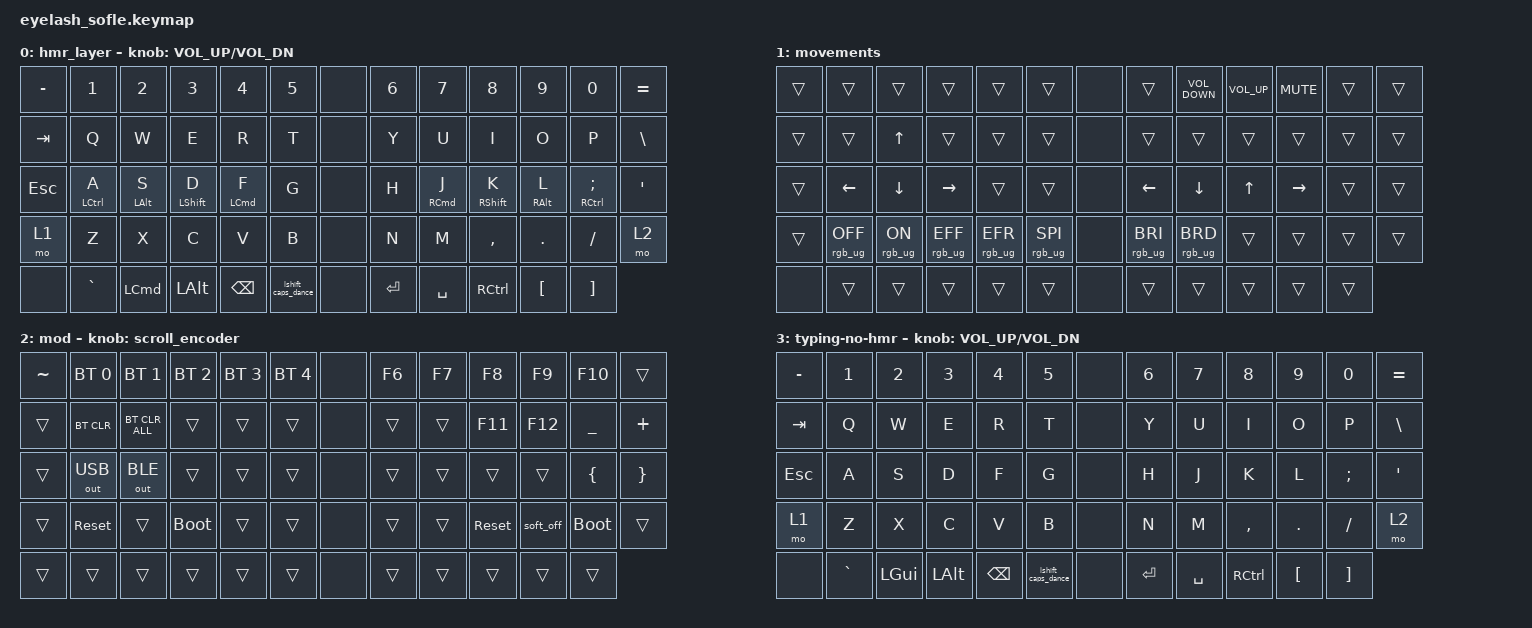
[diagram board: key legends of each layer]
#define ZMK_POINTING_DEFAULT_MOVE_VAL 1200  // 600
#define ZMK_POINTING_DEFAULT_SCRL_VAL 25   // 10

#include <input/processors.dtsi>
#include <zephyr/dt-bindings/input/input-event-codes.h>
#include <behaviors.dtsi>
#include <dt-bindings/zmk/bt.h>
#include <dt-bindings/zmk/keys.h>
#include <dt-bindings/zmk/outputs.h>
#include <dt-bindings/zmk/pointing.h>
#include <dt-bindings/zmk/rgb.h>

&mmv_input_listener { input-processors = <&zip_xy_scaler 2 1>; };

&msc_input_listener { input-processors = <&zip_scroll_scaler 2 1>; };

&msc {
    acceleration-exponent = <1>;      // 0
    time-to-max-speed-ms = <100>;       // 300
    delay-ms = <0>;                   // 0
};

&mmv {
    time-to-max-speed-ms = <500>;
    acceleration-exponent = <1>;
    trigger-period-ms = <16>;
};

&soft_off { hold-time-ms = <2000>; };

/ {
    scroll_encoder: scroll_encoder {
        compatible = "zmk,behavior-sensor-rotate";
        #sensor-binding-cells = <0>;
        bindings = <&msc SCRL_DOWN>, <&msc SCRL_UP>;

        tap-ms = <100>;
    };

    lshift_caps_dance: lshift_caps_dance {
        compatible = "zmk,behavior-tap-dance";
        label = "LSHIFT_CAPS_DANCE";
        #binding-cells = <0>;
        bindings = <&kp LSHFT>, <&caps_word>;
    };

    hml: hml {
        compatible = "zmk,behavior-hold-tap";
        label = "HML";
        bindings = <&kp>, <&kp>;

        #binding-cells = <2>;
        tapping-term-ms = <280>;
        quick-tap-ms = <175>;
        require-prior-idle-ms = <200>;
        flavor = "balanced";
        hold-trigger-key-positions = <56 57 63 35 7 8 9 10 11 12 20 21 22 23 24 25 33 34 35 36 37 38 46 47 48 49 50 51 60 61 62 63 59 55 54 53>;
        hold-trigger-on-release;
    };

    hmr: hmr {
        compatible = "zmk,behavior-hold-tap";
        label = "HMR";
        bindings = <&kp>, <&kp>;

        #binding-cells = <2>;
        tapping-term-ms = <280>;
        quick-tap-ms = <175>;
        require-prior-idle-ms = <200>;
        flavor = "balanced";
        hold-trigger-key-positions = <0 1 2 3 4 5 13 14 15 16 17 18 26 27 28 29 30 31 39 40 41 42 43 44 53 54 55 56 57 60 59 61 62 63>;
        hold-trigger-on-release;
    };

    rshift_caps_dance: rshift_caps_dance {
        compatible = "zmk,behavior-tap-dance";
        label = "RSHIFT_CAPS_DANCE";
        #binding-cells = <0>;
        bindings = <&kp RSHIFT>, <&caps_word>;
    };

    behaviors {
    };

    combos {
        compatible = "zmk,combos";

        sleep {
            bindings = <&kp LC(LG(Q))>;
            key-positions = <0 12>;
        };

        softoff {
            bindings = <&soft_off>;
            key-positions = <39 26 13>;
        };

        non_hrm {
            bindings = <&mo 3>;
            key-positions = <39 26 51 38>;
            layers = <0>;
        };

        to_hmr_layer {
            bindings = <&mo 0>;
            key-positions = <39 26 51 38>;
            layers = <3>;
        };
    };

    keymap {
        compatible = "zmk,keymap";

        hmr_layer {
            bindings = <
&kp MINUS  &kp N1               &kp N2            &kp N3             &kp N4               &kp N5                &none  &kp N6     &kp N7                &kp N8              &kp N9            &kp N0                   &kp EQUAL
&kp TAB    &kp Q                &kp W             &kp E              &kp R                &kp T                 &none  &kp Y      &kp U                 &kp I               &kp O             &kp P                    &kp BSLH
&kp ESC    &hml LEFT_CONTROL A  &hml LEFT_ALT S   &hml LEFT_SHIFT D  &hml LEFT_COMMAND F  &kp G                 &none  &kp H      &hmr RIGHT_COMMAND J  &hmr RIGHT_SHIFT K  &hmr RIGHT_ALT L  &hmr RIGHT_CONTROL SEMI  &kp APOS
&mo 1      &kp Z                &kp X             &kp C              &kp V                &kp B                 &none  &kp N      &kp M                 &kp COMMA           &kp DOT           &kp FSLH                 &mo 2
&none      &kp GRAVE            &kp LEFT_COMMAND  &kp LEFT_ALT       &kp BACKSPACE        &lshift_caps_dance    &none  &kp ENTER  &kp SPACE             &kp RIGHT_CONTROL   &kp LEFT_BRACKET  &kp RIGHT_BRACKET
            >;

            sensor-bindings = <&inc_dec_kp C_VOLUME_UP C_VOL_DN>;
            display-name = "hmr_layer";
        };

        movements {
            bindings = <
&trans  &trans           &trans          &trans           &trans           &trans             &none  &trans           &kp C_VOLUME_DOWN  &kp C_VOLUME_UP  &kp C_MUTE  &trans  &trans
&trans  &trans           &kp UP          &trans           &trans           &trans             &none  &trans           &trans             &trans           &trans      &trans  &trans
&trans  &kp LEFT         &kp DOWN        &kp RIGHT        &trans           &trans             &none  &kp LEFT_ARROW   &kp DOWN_ARROW     &kp UP_ARROW     &kp RIGHT   &trans  &trans
&trans  &rgb_ug RGB_OFF  &rgb_ug RGB_ON  &rgb_ug RGB_EFF  &rgb_ug RGB_EFR  &rgb_ug RGB_SPI    &none  &rgb_ug RGB_BRI  &rgb_ug RGB_BRD    &trans           &trans      &trans  &trans
&none   &trans           &trans          &trans           &trans           &trans             &none  &trans           &trans             &trans           &trans      &trans
            >;

            display-name = "movements";
        };

        mod {
            bindings = <
&kp TILDE  &bt BT_SEL 0  &bt BT_SEL 1    &bt BT_SEL 2  &bt BT_SEL 3  &bt BT_SEL 4    &none  &kp F6  &kp F7  &kp F8      &kp F9     &kp F10      &trans
&trans     &bt BT_CLR    &bt BT_CLR_ALL  &trans        &trans        &trans          &none  &trans  &trans  &kp F11     &kp F12    &kp UNDER    &kp PLUS
&trans     &out OUT_USB  &out OUT_BLE    &trans        &trans        &trans          &none  &trans  &trans  &trans      &trans     &kp LBRC     &kp RBRC
&trans     &sys_reset    &trans          &bootloader   &trans        &trans          &none  &trans  &trans  &sys_reset  &soft_off  &bootloader  &trans
&trans     &trans        &trans          &trans        &trans        &trans          &none  &trans  &trans  &trans      &trans     &trans
            >;

            display-name = "mod";
            sensor-bindings = <&scroll_encoder>;
        };

        typing-no-hmr {
            display-name = "typing-no-hmr";
            bindings = <
&kp MINUS  &kp N1     &kp N2    &kp N3    &kp N4         &kp N5                &none  &kp N6     &kp N7     &kp N8             &kp N9    &kp N0    &kp EQUAL
&kp TAB    &kp Q      &kp W     &kp E     &kp R          &kp T                 &none  &kp Y      &kp U      &kp I              &kp O     &kp P     &kp BSLH
&kp ESC    &kp A      &kp S     &kp D     &kp F          &kp G                 &none  &kp H      &kp J      &kp K              &kp L     &kp SEMI  &kp APOS
&mo 1      &kp Z      &kp X     &kp C     &kp V          &kp B                 &none  &kp N      &kp M      &kp COMMA          &kp DOT   &kp FSLH  &mo 2
&none      &kp GRAVE  &kp LGUI  &kp LALT  &kp BACKSPACE  &lshift_caps_dance    &none  &kp ENTER  &kp SPACE  &kp RIGHT_CONTROL  &kp LBKT  &kp RBKT
            >;

            sensor-bindings = <&inc_dec_kp C_VOLUME_UP C_VOL_DN>;
        };
    };
};
